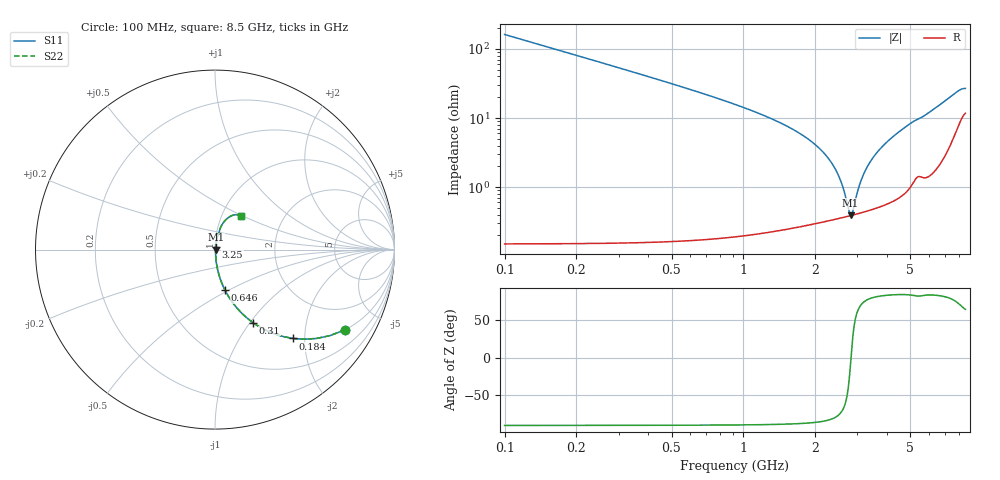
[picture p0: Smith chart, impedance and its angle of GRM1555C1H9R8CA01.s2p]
!Murata Part Number: GRM1555C1H9R8CA01
!These Parameters are Measured in Series Mode Connection
!Data Generated on Mar 30, 2021
!  o--ll--o
!Port1  Port2
!  o------o
!Operation Temp=25[degC], DC Bias Voltage=0[V]
!Freq. Start=100[MHz] Stop=9[GHz] 401[Steps]
# Hz S RI R 50
!Freq.(Hz) S11(Real) S11(Imag) S21(Real) S21(Imag) S12(Real) S12(Imag) S22(Real) S22(Imag)
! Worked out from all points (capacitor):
!   401 points, 100 MHz to 8.5 GHz, reference 50 ohm
!   read as one part in series: C = 9.8 pF near 142 MHz
!   lowest |Z| = 390 mohm at 2.809 GHz (marker M1)
!   series resonance near 2.822 GHz, so ESL is about 320 pH
!   S11 on the Smith chart (normalised r, x): 100 MHz: 1.00, -3.24; 184 MHz: 1.00, -1.76; 310 MHz: 1.00, -1.04; 646 MHz: 1.00, -0.48; 3.25 GHz: 1.01, +0.03; 8.5 GHz: 1.23, +0.48
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1e8  0.7244 -0.4463  0.2756 0.4463  0.2756 0.4463  0.7244 -0.4463
1.84e8  0.4359 -0.495  0.5641 0.495  0.5641 0.495  0.4359 -0.495
3.1e8  0.2121 -0.4073  0.7879 0.4073  0.7879 0.4073  0.2121 -0.4073
4.36e8  0.1179 -0.3203  0.8821 0.3203  0.8821 0.3203  0.1179 -0.3203
6.46e8  0.0552 -0.2249  0.9448 0.2249  0.9448 0.2249  0.0552 -0.2249
1.507e9  0.00838 -0.0768  0.9916 0.0768  0.9916 0.0768  0.00838 -0.0768
2.011e9  0.00457 -0.0401  0.9954 0.0401  0.9954 0.0401  0.00457 -0.0401
2.347e9  0.00379 -0.0217  0.9962 0.0217  0.9962 0.0217  0.00379 -0.0217
2.557e9  0.00369 -0.0116  0.9963 0.0116  0.9963 0.0116  0.00369 -0.0116
2.767e9  0.00381 -0.00232  0.9962 0.00232  0.9962 0.00232  0.00381 -0.00232
2.809e9  0.00385 -0.000537  0.9961 0.000537  0.9961 0.000537  0.00385 -0.000537
2.851e9  0.0039 0.00122  0.9961 -0.00122  0.9961 -0.00122  0.0039 0.00122
2.914e9  0.00399 0.00383  0.996 -0.00383  0.996 -0.00383  0.00399 0.00383
3.061e9  0.00426 0.00975  0.9957 -0.00975  0.9957 -0.00975  0.00426 0.00975
3.25e9  0.0047 0.0171  0.9953 -0.0171  0.9953 -0.0171  0.0047 0.0171
3.67e9  0.00611 0.0326  0.9939 -0.0326  0.9939 -0.0326  0.00611 0.0326
4.3e9  0.00943 0.0552  0.9906 -0.0552  0.9906 -0.0552  0.00943 0.0552
5.035e9  0.017 0.0819  0.983 -0.0819  0.983 -0.0819  0.017 0.0819
5.707e9  0.0243 0.1027  0.9757 -0.1027  0.9757 -0.1027  0.0243 0.1027
7.114e9  0.0606 0.1668  0.9394 -0.1668  0.9394 -0.1668  0.0606 0.1668
7.933e9  0.113 0.1941  0.887 -0.1941  0.887 -0.1941  0.113 0.1941
8.5e9  0.1449 0.185  0.8551 -0.185  0.8551 -0.185  0.1449 0.185
